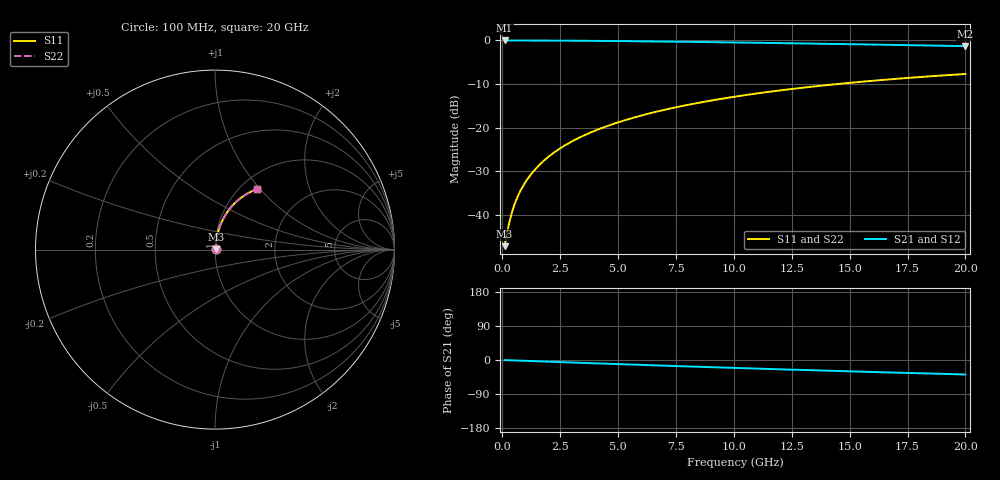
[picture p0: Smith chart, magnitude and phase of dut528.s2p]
! Touchstone file exported from HFSS 2024.1.0
!  File:  C:/UserFiles/LocalFiles/RDL_TSV_Batchsim/temp_RDL_top_528_1779680092.aedt
!  Generated:  11:37:01 AM May 25, 2026
!  Design:  RDL_top
!  Project:  temp_RDL_top_528_1779680092
!  Setup:  Setup1
!  Solution:  Sweep
! Variables:
!  dtsv = 10.80580581um
!  hbump = 3um
!  htsv = 81.06um
!  ldown = 100um
!  lrdl = 515.94um
!  p = 40
!  p1 = 43.42um
!  rhole = 1um
!  t = 450um
!  tdown = 3.915915916um
!  trdl = 3.84um
!  wdown = 15.38538539um
!  wrdl = 13.39um
# GHz S MA R 50.000000
! Terminal data exported
! Port[1] = Box2_T1
! Port[2] = Box2_T2
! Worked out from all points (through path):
!   200 points, 100 MHz to 20 GHz, reference 50 ohm
!   highest |S21| = -0.03 dB at 100 MHz (marker M1); lowest = -1.3 dB at 20 GHz (marker M2)
!   group delay of S21, straight-line fit = 5.3 ps
!   lowest |S11| = -47.2 dB at 100 MHz (marker M3), VSWR 1.01, Z = 50.4 + j0.244 ohm
!   |S11| at or under -10 dB: start of sweep to 14.51 GHz
!   |S22| runs from -47.2 to -7.7 dB; largest |S21 - S12| = 4e-15
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0.1  0.004375 33.6  0.9964 -0.2  0.9964 -0.2  0.004375 33.6
! Gamma 0 0 0 0
! Port Impedance 50 0 50 0
0.2  0.006092 52.3  0.9963 -0.5  0.9963 -0.5  0.006092 52.3
0.3  0.008146 61.8  0.9962 -0.7  0.9962 -0.7  0.008146 61.8
0.4  0.01031 67.3  0.996 -0.9  0.996 -0.9  0.01031 67.3
0.5  0.01251 70.8  0.9959 -1.1  0.9959 -1.1  0.01251 70.8
0.6  0.01473 73.2  0.9957 -1.4  0.9957 -1.4  0.01473 73.2
0.8  0.0192 76.3  0.9955 -1.8  0.9955 -1.8  0.0192 76.3
1.1  0.02595 78.8  0.995 -2.5  0.995 -2.5  0.02595 78.8
1.5  0.03501 80.4  0.9943 -3.3  0.9943 -3.3  0.03501 80.4
1.8  0.04184 81.0  0.9936 -4.0  0.9936 -4.0  0.04184 81.0
2.1  0.04867 81.3  0.9929 -4.7  0.9929 -4.7  0.04867 81.3
2.7  0.06237 81.4  0.991 -6.0  0.991 -6.0  0.06237 81.4
3.5  0.08062 80.9  0.988 -7.7  0.988 -7.7  0.08062 80.9
4.2  0.09657 80.2  0.9848 -9.2  0.9848 -9.2  0.09657 80.2
5  0.1147 79.2  0.9807 -10.9  0.9807 -10.9  0.1147 79.2
5.9  0.1351 78.0  0.9754 -12.8  0.9754 -12.8  0.1351 78.0
6.8  0.1552 76.6  0.9696 -14.6  0.9696 -14.6  0.1552 76.6
8.3  0.1884 74.3  0.959 -17.6  0.959 -17.6  0.1884 74.3
10.1  0.2272 71.3  0.9451 -21.1  0.9451 -21.1  0.2272 71.3
13.4  0.2948 65.8  0.9173 -27.1  0.9173 -27.1  0.2948 65.8
16.7  0.3565 60.4  0.8879 -32.9  0.8879 -32.9  0.3565 60.3
20  0.4115 55.1  0.8578 -38.2  0.8578 -38.2  0.4115 55.1
